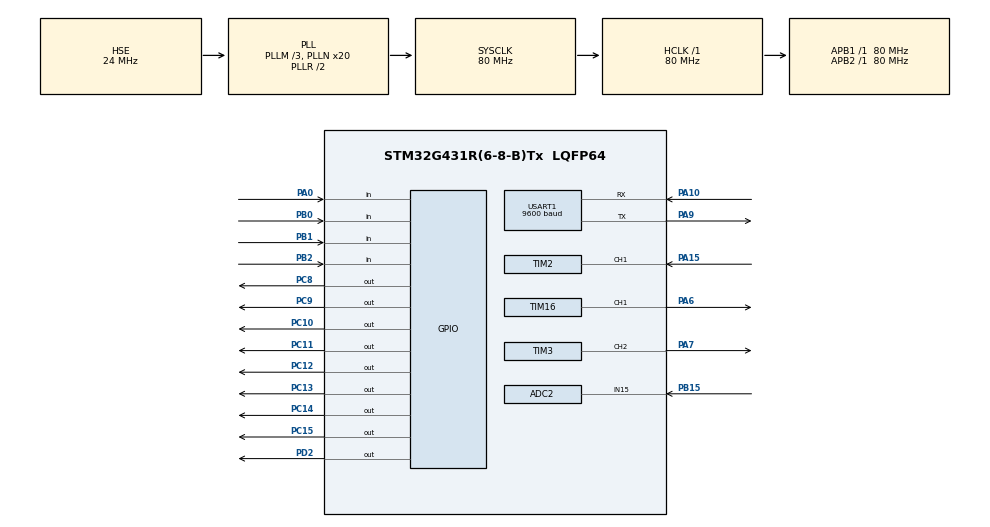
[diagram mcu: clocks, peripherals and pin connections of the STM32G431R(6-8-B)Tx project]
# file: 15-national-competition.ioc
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ADC2.Channel-0\#ChannelRegularConversion=ADC_CHANNEL_15
ADC2.NbrOfConversionFlag=1
ADC2.OffsetNumber-0\#ChannelRegularConversion=ADC_OFFSET_NONE
ADC2.Rank-0\#ChannelRegularConversion=1
ADC2.SamplingTime-0\#ChannelRegularConversion=ADC_SAMPLETIME_2CYCLES_5
Mcu.Family=STM32G4
Mcu.Name=STM32G431R(6-8-B)Tx
Mcu.Package=LQFP64
NVIC.PriorityGroup=NVIC_PRIORITYGROUP_4
NVIC.TIM2_IRQn=true\:0\:0\:false\:false\:true\:true\:true\:true
NVIC.USART1_IRQn=true\:0\:0\:false\:false\:true\:true\:true\:true
PA0.GPIO_PuPd=GPIO_PULLUP
PA0.Signal=GPIO_Input
PA10.Mode=Asynchronous
PA10.Signal=USART1_RX
PA13.Mode=Serial_Wire
PA13.Signal=SYS_JTMS-SWDIO
PA14.Mode=Serial_Wire
PA14.Signal=SYS_JTCK-SWCLK
PA15.Signal=S_TIM2_CH1
PA6.Signal=S_TIM16_CH1
PA7.Signal=S_TIM3_CH2
PA9.Mode=Asynchronous
PA9.Signal=USART1_TX
PB0.GPIO_PuPd=GPIO_PULLUP
PB0.Signal=GPIO_Input
PB1.GPIO_PuPd=GPIO_PULLUP
PB1.Signal=GPIO_Input
PB15.Mode=IN15-Single-Ended
PB15.Signal=ADC2_IN15
PB2.GPIO_PuPd=GPIO_PULLUP
PB2.Signal=GPIO_Input
PC10.PinState=GPIO_PIN_SET
PC10.Signal=GPIO_Output
PC11.PinState=GPIO_PIN_SET
PC11.Signal=GPIO_Output
PC12.PinState=GPIO_PIN_SET
PC12.Signal=GPIO_Output
PC13.PinState=GPIO_PIN_SET
PC13.Signal=GPIO_Output
PC14-OSC32_IN.PinState=GPIO_PIN_SET
PC14-OSC32_IN.Signal=GPIO_Output
PC15-OSC32_OUT.PinState=GPIO_PIN_SET
PC15-OSC32_OUT.Signal=GPIO_Output
PC8.PinState=GPIO_PIN_SET
PC8.Signal=GPIO_Output
PC9.PinState=GPIO_PIN_SET
PC9.Signal=GPIO_Output
PD2.Signal=GPIO_Output
PF0-OSC_IN.Mode=HSE-External-Oscillator
PF0-OSC_IN.Signal=RCC_OSC_IN
PF1-OSC_OUT.Mode=HSE-External-Oscillator
PF1-OSC_OUT.Signal=RCC_OSC_OUT
ProjectManager.HeapSize=0x200
ProjectManager.StackSize=0x400
ProjectManager.TargetToolchain=MDK-ARM V5.32
RCC.ADC12Freq_Value=80000000
RCC.AHBFreq_Value=80000000
RCC.APB1Freq_Value=80000000
RCC.APB1TimFreq_Value=80000000
RCC.APB2Freq_Value=80000000
RCC.APB2TimFreq_Value=80000000
RCC.CortexFreq_Value=80000000
RCC.EXTERNAL_CLOCK_VALUE=12288000
RCC.HCLKFreq_Value=80000000
RCC.HSE_VALUE=24000000
RCC.HSI48_VALUE=48000000
RCC.HSI_VALUE=16000000
RCC.LSE_VALUE=32768
RCC.PLLM=RCC_PLLM_DIV3
RCC.PLLN=20
RCC.PLLSourceVirtual=RCC_PLLSOURCE_HSE
RCC.SYSCLKFreq_VALUE=80000000
RCC.SYSCLKSource=RCC_SYSCLKSOURCE_PLLCLK
RCC.USBFreq_Value=80000000
RCC.VCOOutputFreq_Value=160000000
SH.S_TIM16_CH1.0=TIM16_CH1,PWM Generation1 CH1
SH.S_TIM2_CH1.0=TIM2_CH1,Input_Capture1_from_TI1
SH.S_TIM3_CH2.0=TIM3_CH2,PWM Generation2 CH2
TIM16.Channel=TIM_CHANNEL_1
TIM16.PeriodNoDither=100-1
TIM16.Prescaler=800-1
TIM17.Prescaler=8000-1
TIM2.Channel-Input_Capture1_from_TI1=TIM_CHANNEL_1
TIM2.Prescaler=80-1
TIM3.Channel-PWM\ Generation2\ CH2=TIM_CHANNEL_2
TIM3.PeriodNoDither=100-1
TIM3.Prescaler=800-1
USART1.BaudRate=9600
USART1.VirtualMode-Asynchronous=VM_ASYNC
VP_SYS_VS_DBSignals.Mode=DisableDeadBatterySignals
VP_TIM16_VS_ClockSourceINT.Mode=Enable_Timer
VP_TIM17_VS_ClockSourceINT.Mode=Enable_Timer
board=custom

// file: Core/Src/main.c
/* USER CODE BEGIN Header */
/**
  ******************************************************************************
  * @file           : main.c
  * @brief          : Main program body
  ******************************************************************************
  * @attention
  *
  * Copyright (c) 2025 STMicroelectronics.
  * All rights reserved.
  *
  * This software is licensed under terms that can be found in the LICENSE file
  * in the root directory of this software component.
  * If no LICENSE file comes with this software, it is provided AS-IS.
  *
  ******************************************************************************
  */
/* USER CODE END Header */
#include "main.h"
#include "adc.h"
#include "tim.h"
#include "usart.h"
#include "gpio.h"

/* USER CODE BEGIN Includes */
#include "stdio.h"
#include "stdint.h"
#include "stdlib.h"
#include "string.h"
#include "stdbool.h"
#include "math.h"
#include "lcd.h"
/* USER CODE END Includes */

/* USER CODE BEGIN PV */
uint8_t rec_data, count=0, rec_flag=0;
uint16_t dst_index=0, rn_index=0;
char rec_buf[1000], send_buf[1000];
uint16_t dst[400];
/* USER CODE END PV */

void SystemClock_Config(void);
/* USER CODE BEGIN PFP */
void LCD_Proc(void);
uint8_t KEY_Scan(void);
void KEY_Proc(void);
void LED_Proc(void);
void USART_Proc(void);
void PWM_Proc(void);
/* USER CODE END PFP */

int main(void)
{

  /* MCU Configuration--------------------------------------------------------*/

  /* Reset of all peripherals, Initializes the Flash interface and the Systick. */
  HAL_Init();

  /* Configure the system clock */
  SystemClock_Config();

  /* Initialize all configured peripherals */
  MX_GPIO_Init();
  MX_TIM2_Init();
  MX_USART1_UART_Init();
  MX_TIM17_Init();
  MX_TIM3_Init();
  MX_TIM16_Init();
  MX_ADC2_Init();
  /* USER CODE BEGIN 2 */
    // LCD
    LCD_Init();
    LCD_Clear(Black);
    LCD_SetBackColor(Black);
    LCD_SetTextColor(White);
    // TIM
    HAL_TIM_IC_Start_IT(&htim2, TIM_CHANNEL_1);
    HAL_TIM_Base_Start(&htim17);
    HAL_TIM_PWM_Start(&htim16, TIM_CHANNEL_1);
    HAL_TIM_PWM_Start(&htim3, TIM_CHANNEL_2);
    TIM16->CCR1=0;
    TIM3->CCR2=0;
    // USART1
    HAL_UART_Receive_IT(&huart1, &rec_data, 1);
    // ADC
    HAL_ADCEx_Calibration_Start(&hadc2, ADC_SINGLE_ENDED);
  /* USER CODE END 2 */

  /* Infinite loop */
  /* USER CODE BEGIN WHILE */
  while (1)
  {
      KEY_Proc();
      USART_Proc();
      PWM_Proc();
      LCD_Proc();
    /* USER CODE END WHILE */

  }
}

void SystemClock_Config(void)
{
  RCC_OscInitTypeDef RCC_OscInitStruct = {0};
  RCC_ClkInitTypeDef RCC_ClkInitStruct = {0};

  /** Configure the main internal regulator output voltage
  */
  HAL_PWREx_ControlVoltageScaling(PWR_REGULATOR_VOLTAGE_SCALE1);

  /** Initializes the RCC Oscillators according to the specified parameters
  * in the RCC_OscInitTypeDef structure.
  */
  RCC_OscInitStruct.OscillatorType = RCC_OSCILLATORTYPE_HSE;
  RCC_OscInitStruct.HSEState = RCC_HSE_ON;
  RCC_OscInitStruct.PLL.PLLState = RCC_PLL_ON;
  RCC_OscInitStruct.PLL.PLLSource = RCC_PLLSOURCE_HSE;
  RCC_OscInitStruct.PLL.PLLM = RCC_PLLM_DIV3;
  RCC_OscInitStruct.PLL.PLLN = 20;
  RCC_OscInitStruct.PLL.PLLP = RCC_PLLP_DIV2;
  RCC_OscInitStruct.PLL.PLLQ = RCC_PLLQ_DIV2;
  RCC_OscInitStruct.PLL.PLLR = RCC_PLLR_DIV2;
  if (HAL_RCC_OscConfig(&RCC_OscInitStruct) != HAL_OK)
  {
    Error_Handler();
  }

  /** Initializes the CPU, AHB and APB buses clocks
  */
  RCC_ClkInitStruct.ClockType = RCC_CLOCKTYPE_HCLK|RCC_CLOCKTYPE_SYSCLK
                              |RCC_CLOCKTYPE_PCLK1|RCC_CLOCKTYPE_PCLK2;
  RCC_ClkInitStruct.SYSCLKSource = RCC_SYSCLKSOURCE_PLLCLK;
  RCC_ClkInitStruct.AHBCLKDivider = RCC_SYSCLK_DIV1;
  RCC_ClkInitStruct.APB1CLKDivider = RCC_HCLK_DIV1;
  RCC_ClkInitStruct.APB2CLKDivider = RCC_HCLK_DIV1;

  if (HAL_RCC_ClockConfig(&RCC_ClkInitStruct, FLASH_LATENCY_2) != HAL_OK)
  {
    Error_Handler();
  }
}

/* USER CODE BEGIN 4 */
char text[20];
char* state[3] = {"Idle", "Busy", "Wait"};
uint8_t rn = 0, page=0, b = 10, para_select=0, sidx=0;
uint16_t tt = 0, cp[2]={0}, tp[2]={0};
double se = 0, r = 1.0, ts = 0;
void LCD_Proc(void){
    sprintf(text, "        %d       ", TIM17->CNT);
        LCD_DisplayStringLine(Line9, (uint8_t*)text);
    if(page==0){
        sprintf(text, "        DATA        ");
        LCD_DisplayStringLine(Line1, (uint8_t*)text);
        sprintf(text, "     ST=%s        ", state[sidx]);
        LCD_DisplayStringLine(Line3, (uint8_t*)text);
        sprintf(text, "     CP=%d,%d     ", cp[0], cp[1]);
        LCD_DisplayStringLine(Line4, (uint8_t*)text);
        sprintf(text, "     TP=%d,%d     ", tp[0], tp[1]);
        LCD_DisplayStringLine(Line5, (uint8_t*)text);
        sprintf(text, "     SE=%.1f        ", se);
        LCD_DisplayStringLine(Line6, (uint8_t*)text);
        sprintf(text, "     RN=%d        ", rn);
        LCD_DisplayStringLine(Line7, (uint8_t*)text);
        para_select=0;
    }else if(page==1){
        sprintf(text, "        PARA        ");
        LCD_DisplayStringLine(Line1, (uint8_t*)text);
        sprintf(text, "     R=%.1f          ", r);
        LCD_DisplayStringLine(Line3, (uint8_t*)text);
        sprintf(text, "     B=%d          ", b);
        LCD_DisplayStringLine(Line4, (uint8_t*)text);
    }else if(page==2){
        sprintf(text, "        RECD        ");
        LCD_DisplayStringLine(Line1, (uint8_t*)text);
        sprintf(text, "     TS=%.1f      ", ts);
        LCD_DisplayStringLine(Line3, (uint8_t*)text);
        sprintf(text, "     TT=%d      ", tt);
        LCD_DisplayStringLine(Line4, (uint8_t*)text);
    }
}
uint8_t key_val, key_down, key_up, key_last_val;
uint8_t KEY_Scan(void){
    uint8_t key_value = 0;
    if(HAL_GPIO_ReadPin(GPIOB, GPIO_PIN_0)==GPIO_PIN_RESET){
        key_value=1;
    }
    if(HAL_GPIO_ReadPin(GPIOB, GPIO_PIN_1)==GPIO_PIN_RESET){
        key_value=2;
    }
    if(HAL_GPIO_ReadPin(GPIOB, GPIO_PIN_2)==GPIO_PIN_RESET){
        key_value=3;
    }
    if(HAL_GPIO_ReadPin(GPIOA, GPIO_PIN_0)==GPIO_PIN_RESET){
        key_value=4;
    }
    return key_value;
}
void KEY_Proc(void){
    key_val=KEY_Scan();
    key_down=key_val&(key_val^key_last_val);
    key_up=~key_val&(key_val^key_last_val);
    key_last_val=key_val;
    if(key_down==1){
        if(dst_index!=0){
            sidx++;
            if(sidx==3) sidx=1;
        }
    }
    if(key_down==2){
        page++;
        page%=3;
        LCD_Clear(Black);
    }
    if(key_down==3 && page==1){
        para_select^=1;
    }
    if(key_down==4 && page==1){
        if(para_select==0){
            r+=0.1;
            if(r-2.0>0.001) r=1.0;
        }else{
            b+=10;
            if(b>100) b=10;
        }
    }
}
uint8_t run_flag=0;
double last_dis=0, dis=0;
uint32_t time=0;
uint16_t last_x, last_y;
void Work(void){
    if(sidx==1 && dst_index!=0){
        if(run_flag==0){
            tp[0]=dst[rn_index++];
            tp[1]=dst[rn_index++];
            run_flag=1;
            last_dis=sqrt(pow(tp[0]-cp[0], 2)+pow(tp[1]-cp[1], 2));
            last_x = cp[0];
            last_y = cp[1];
        }
        double se_x = se*abs(tp[0]-cp[0])/last_dis;
        double se_y = se*abs(tp[1]-cp[1])/last_dis;
        cp[0] += se_x*time/1000;
        cp[1] += se_y*time/1000;
        dis = sqrt(pow(cp[0]-last_x, 2)+pow(cp[1]-last_y, 2));
        if(dis > last_dis){
            cp[0]=tp[0];
            cp[1]=tp[1];
            run_flag=0;
            ts += last_dis;
            tt += time/1000;
            time=0;
        }
    }
}
void LED_Proc(void);
int delete_x, delete_y, mode=0;
void USART_Proc(void){
    if(TIM17->CNT>15){
        if(rec_flag==1){
            // �����߼�
            if(strcmp(rec_buf, "?")==0){
                sprintf(send_buf, "%s", state[sidx]);
                HAL_UART_Transmit(&huart1, (uint8_t*)send_buf, strlen(send_buf), 50);
            }else if(strcmp(rec_buf, "#")==0){
                sprintf(send_buf, "(%d,%d)", cp[0], cp[1]);
                HAL_UART_Transmit(&huart1, (uint8_t*)send_buf, strlen(send_buf), 50);
            }else if(rec_buf[0]=='{'){
                sscanf(rec_buf, "{%d,%d}", &delete_x, &delete_y);
                sprintf(send_buf, "{%d,%d}", delete_x, delete_y);
                HAL_UART_Transmit(&huart1, (uint8_t*)send_buf, strlen(send_buf), 50);
            }else if(rec_buf[0]=='('){  // (1,1,1,1,...)
                if(sidx!=0){
                    sprintf(send_buf, "Busy");
                    HAL_UART_Transmit(&huart1, (uint8_t*)send_buf, strlen(send_buf), 50);
                }else{
                    char temp[1000];
                    for(int i = 1;i<strlen(rec_buf)-1; i++){
                        temp[i-1] = rec_buf[i];
                    }
                    char* token;
                    token = strtok(temp, ",");
                    while(token!=NULL){
                        dst[dst_index++]=atoi(token);
                        token = strtok(NULL, ",");
                    }
                    sprintf(send_buf, "Got it");
                    HAL_UART_Transmit(&huart1, (uint8_t*)send_buf, strlen(send_buf), 50);
                }
            }else if(rec_buf[0]=='['){
                if(rec_buf[2]!=']'){
                    sprintf(send_buf, "Error");
                    HAL_UART_Transmit(&huart1, (uint8_t*)send_buf, strlen(send_buf), 50);
                }else{
                    sscanf(rec_buf, "[%d]", &mode);
                    if(mode>4){
                        sprintf(send_buf, "Error");
                        HAL_UART_Transmit(&huart1, (uint8_t*)send_buf, strlen(send_buf), 50);
                    }else{
                        sidx==1? sprintf(send_buf, "Got it") : sprintf(send_buf, "Device offline");
                        HAL_UART_Transmit(&huart1, (uint8_t*)send_buf, strlen(send_buf), 50);
                    }
                }
            }else{
                sprintf(send_buf, "Error");
                HAL_UART_Transmit(&huart1, (uint8_t*)send_buf, strlen(send_buf), 50);
            }
            memset(rec_buf, 0, sizeof(rec_buf));
            count=0;
            rec_flag=0;
            HAL_UART_Receive_IT(&huart1, &rec_data, 1);
        }
    }
}
void PWM_Proc(void){
    if(sidx==1){
        if(mode==1){
            __HAL_TIM_SET_PRESCALER(&htim16, 800-1);
            __HAL_TIM_SET_PRESCALER(&htim3, 800-1);
        }else if(mode==2){
            __HAL_TIM_SET_PRESCALER(&htim16, 200-1);
            __HAL_TIM_SET_PRESCALER(&htim3, 800-1);
        }else if(mode==3){
            __HAL_TIM_SET_PRESCALER(&htim16, 800-1);
            __HAL_TIM_SET_PRESCALER(&htim3, 200-1);
        }else if(mode==4){
            __HAL_TIM_SET_PRESCALER(&htim16, 200-1);
            __HAL_TIM_SET_PRESCALER(&htim3, 200-1);
        }
        double vol = HAL_ADC_GetValue(&hadc2)*3.3/4096;
        if(vol<0.5){
            TIM16->CCR1=10;
            TIM3->CCR2=5;
        }else if(vol>=0.5 && vol < 1.0){
            TIM16->CCR1=30;
            TIM3->CCR2=25;
        }else if(vol>=1.0 && vol<1.5){
            TIM16->CCR1=50;
            TIM3->CCR2=45;
        }else if(vol>=1.5 && vol<2.0){
            TIM16->CCR1=70;
            TIM3->CCR2=65;
        }else if(vol>=2.0 && vol<2.5){
            TIM16->CCR1=90;
            TIM3->CCR2=85;
        }else if(vol>=2.5){
            TIM16->CCR1=95;
            TIM3->CCR2=90;
        }
    }else{
        TIM16->CCR1=0;
        TIM3->CCR2=0;
    }
}
void HAL_UART_RxCpltCallback(UART_HandleTypeDef *huart){
    if(huart->Instance==USART1){
        rec_buf[count]=rec_data;
        count++;
        rec_flag=1;
        TIM17->CNT=0;
        HAL_UART_Receive_IT(huart, &rec_data, 1);
    }
}
void HAL_TIM_IC_CaptureCallback(TIM_HandleTypeDef *htim){
    uint32_t temp = HAL_TIM_ReadCapturedValue(htim, TIM_CHANNEL_1);
    uint32_t fre = 80000000/(80*temp);
    if(sidx==1){
        se = 3.14*r*fre/100 + b;
    }else{
        se=0;
    }
}
void SysTick_Handler(void)
{
  /* USER CODE BEGIN SysTick_IRQn 0 */
    time++;
  /* USER CODE END SysTick_IRQn 0 */
  HAL_IncTick();
  /* USER CODE BEGIN SysTick_IRQn 1 */

  /* USER CODE END SysTick_IRQn 1 */
}
/* USER CODE END 4 */

void Error_Handler(void)
{
  __disable_irq();
  while (1)
  {
  }
}
